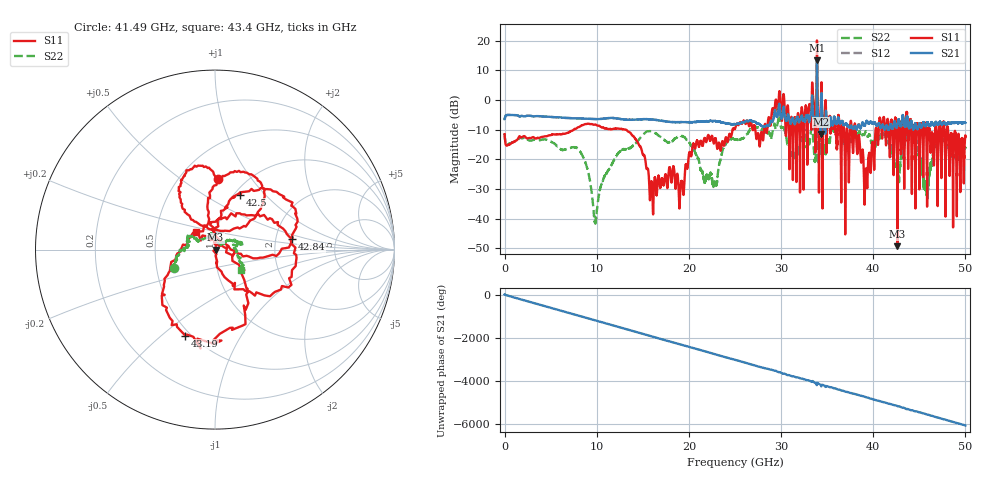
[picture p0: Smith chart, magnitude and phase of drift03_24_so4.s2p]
!Created with skrf (http://scikit-rf.org).
# Hz S RI R 50.0
!freq ReS11 ImS11 ReS21 ImS21 ReS12 ImS12 ReS22 ImS22
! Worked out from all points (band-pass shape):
!   10001 points, 300 kHz to 50 GHz, reference 50 ohm
!   highest |S21| = 13.33 dB at 33.9 GHz (marker M1); lowest = -11.5 dB at 34.32 GHz (marker M2)
!   |S21| within 3 dB of the highest: 33.89061 GHz to 33.90507 GHz (14.46 MHz wide, 0.0427 % of centre)
!   lowest |S11| = -49.3 dB at 42.63 GHz (marker M3), VSWR 1.01, Z = 50.3 - j0.126 ohm
!   |S11| at or under -10 dB: start of sweep to 7.486 GHz; 13.14 GHz to 24.74 GHz (11.6 GHz wide, 61.2 % of centre); 38.09 GHz to 40.26 GHz (2.169 GHz wide, 5.54 % of centre) (the widest 3 of 50)
!   |S22| runs from -41.7 to 5.7 dB; largest |S21 - S12| = 0.36
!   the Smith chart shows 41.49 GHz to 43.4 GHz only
!   S11 on the Smith chart (normalised r, x): 41.49 GHz: 0.76, +0.70; 42.5 GHz: 1.07, +0.74; 42.84 GHz: 2.47, +0.35; 43.19 GHz: 0.47, -0.60; 43.4 GHz: 0.79, +0.16
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300000  -0.2358 -0.1215  0.4672 0.0789  0.4665 0.0791  -0.2368 -0.1253
1.440291e9  0.2099 0.0648  -0.5477 -0.0293  -0.5481 -0.029  0.2109 -0.00458
2.915283e9  -0.2118 -0.0881  0.5343 0.0513  0.5345 0.0512  -0.2023 0.0402
4.415274e9  0.2061 0.1323  -0.5215 -0.0418  -0.5215 -0.0416  0.1978 -0.0874
8.33525e9  0.2885 -0.2335  0.1467 0.4656  0.147 0.4661  -0.0733 -0.1008
9.850241e9  -0.362 0.1322  -0.1536 -0.4505  -0.1537 -0.4501  0.00796 0.00222
1.66702e10  0.0275 0.0443  -0.3774 0.2542  -0.3778 0.2545  -0.1269 -0.2188
2.500015e10  -0.3256 -0.0141  -0.2557 -0.2957  -0.2547 -0.2975  -0.2132 0.0303
2.895013e10  -0.3197 0.4215  -0.2909 0.3245  -0.3018 0.2893  0.0626 0.2204
3.006512e10  0.4 0.2631  0.4484 -0.1989  0.4509 -0.1849  0.1716 -0.2994
3.171011e10  -0.0907 0.1892  -0.3579 0.3587  -0.3596 0.3565  0.0656 0.1588
3.33351e10  0.617 -0.8335  0.2373 -0.8481  0.241 -0.825  -0.1961 -0.4156
3.38951e10  -2.851 -9.634  -4.533 0.9815  -4.228 1.173  0.5884 1.841
3.432009e10  -0.7778 0.00129  -0.1804 0.1974  -0.2416 0.1781  0.143 -0.0722
4.148505e10  0.0163 0.3908  0.3342 0.1509  0.3332 0.148  -0.2292 -0.1026
4.167005e10  -0.1962 0.2999  0.3148 0.00258  0.3153 0.0099  -0.1913 -0.00625
4.249505e10  0.1411 0.3062  -0.00287 -0.3461  0.000966 -0.3457  -0.0305 0.0708
4.263004e10  0.00321 -0.00126  -0.1691 -0.3408  -0.1634 -0.3435  -0.0239 0.0894
4.283504e10  0.4291 0.0581  -0.2541 -0.3184  -0.2534 -0.324  0.0375 0.0289
4.318504e10  -0.1647 -0.48  -0.5246 0.0758  -0.531 0.0674  0.1392 0.0433
4.340004e10  -0.1079 0.0965  -0.3253 0.1837  -0.3263 0.1791  0.1457 -0.1132
5e10  -0.1215 -0.2156  0.146 0.383  0.1469 0.382  -0.0563 -0.142
